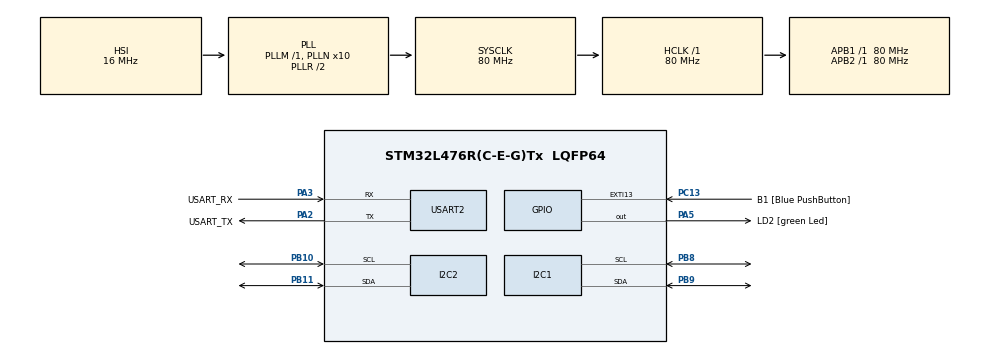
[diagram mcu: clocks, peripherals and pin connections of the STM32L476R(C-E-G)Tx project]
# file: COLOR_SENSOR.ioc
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I2C1.Timing=0x10909CEC
I2C2.Timing=0x10909CEC
Mcu.Family=STM32L4
Mcu.Name=STM32L476R(C-E-G)Tx
Mcu.Package=LQFP64
NVIC.PriorityGroup=NVIC_PRIORITYGROUP_4
PA13\ (JTMS-SWDIO).GPIO_Label=TMS
PA13\ (JTMS-SWDIO).Mode=Serial_Wire
PA13\ (JTMS-SWDIO).Signal=SYS_JTMS-SWDIO
PA14\ (JTCK-SWCLK).GPIO_Label=TCK
PA14\ (JTCK-SWCLK).Mode=Serial_Wire
PA14\ (JTCK-SWCLK).Signal=SYS_JTCK-SWCLK
PA2.GPIO_Label=USART_TX
PA2.GPIO_Mode=GPIO_MODE_AF_PP
PA2.GPIO_PuPd=GPIO_NOPULL
PA2.GPIO_Speed=GPIO_SPEED_FREQ_VERY_HIGH
PA2.Mode=Asynchronous
PA2.Signal=USART2_TX
PA3.GPIO_Label=USART_RX
PA3.GPIO_Mode=GPIO_MODE_AF_PP
PA3.GPIO_PuPd=GPIO_NOPULL
PA3.GPIO_Speed=GPIO_SPEED_FREQ_VERY_HIGH
PA3.Mode=Asynchronous
PA3.Signal=USART2_RX
PA5.GPIO_Label=LD2 [green Led]
PA5.GPIO_ModeDefaultOutputPP=GPIO_MODE_OUTPUT_PP
PA5.GPIO_PuPd=GPIO_NOPULL
PA5.GPIO_Speed=GPIO_SPEED_FREQ_LOW
PA5.Signal=GPIO_Output
PB10.Mode=I2C
PB10.Signal=I2C2_SCL
PB11.Mode=I2C
PB11.Signal=I2C2_SDA
PB3\ (JTDO-TRACESWO).GPIO_Label=SWO
PB3\ (JTDO-TRACESWO).Signal=SYS_JTDO-SWO
PB8.Mode=I2C
PB8.Signal=I2C1_SCL
PB9.Mode=I2C
PB9.Signal=I2C1_SDA
PC13.GPIO_Label=B1 [Blue PushButton]
PC13.GPIO_ModeDefaultEXTI=GPIO_MODE_IT_FALLING
PC13.GPIO_PuPd=GPIO_NOPULL
PC13.Signal=GPXTI13
PC14-OSC32_IN\ (PC14).Mode=LSE-External-Oscillator
PC14-OSC32_IN\ (PC14).Signal=RCC_OSC32_IN
PC15-OSC32_OUT\ (PC15).Mode=LSE-External-Oscillator
PC15-OSC32_OUT\ (PC15).Signal=RCC_OSC32_OUT
PH0-OSC_IN\ (PH0).Signal=RCC_OSC_IN
PH1-OSC_OUT\ (PH1).Signal=RCC_OSC_OUT
ProjectManager.HeapSize=0x200
ProjectManager.StackSize=0x400
ProjectManager.TargetToolchain=STM32CubeIDE
RCC.ADCFreq_Value=64000000
RCC.AHBFreq_Value=80000000
RCC.APB1Freq_Value=80000000
RCC.APB1TimFreq_Value=80000000
RCC.APB2Freq_Value=80000000
RCC.APB2TimFreq_Value=80000000
RCC.CortexFreq_Value=80000000
RCC.HCLKFreq_Value=80000000
RCC.HSE_VALUE=8000000
RCC.HSI_VALUE=16000000
RCC.MSI_VALUE=4000000
RCC.PLLN=10
RCC.PLLSourceVirtual=RCC_PLLSOURCE_HSI
RCC.PREFETCH_ENABLE=1
RCC.SYSCLKFreq_VALUE=80000000
RCC.SYSCLKSource=RCC_SYSCLKSOURCE_PLLCLK
RCC.USBFreq_Value=64000000
RCC.VCOOutputFreq_Value=160000000
USART2.VirtualMode-Asynchronous=VM_ASYNC
board=NUCLEO-L476RG

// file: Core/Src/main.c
/* USER CODE BEGIN Header */
/**
  ******************************************************************************
  * @file           : main.c
  * @brief          : Main program body
  ******************************************************************************
  * @attention
  *
  * Copyright (c) 2022 STMicroelectronics.
  * All rights reserved.
  *
  * This software is licensed under terms that can be found in the LICENSE file
  * in the root directory of this software component.
  * If no LICENSE file comes with this software, it is provided AS-IS.
  *
  ******************************************************************************
  */
/* USER CODE END Header */
#include "main.h"
#include "i2c.h"
#include "usart.h"
#include "gpio.h"

/* USER CODE BEGIN Includes */

#include <string.h>
#include <stdio.h>
#include "lib_lcd.h"

/* USER CODE END Includes */

/* USER CODE BEGIN PTD */

static rgb_lcd lcdData;

/* USER CODE END PTD */

/* USER CODE BEGIN PD */

#define COLOR_SENSOR_ADDR  0x39 << 1
#define CONTROL 0x00                    // Control of basic functions
#define TIMING 0x01                     // Integration time/gain control
#define INTERRUPT 0x02                  // Interrupt control
#define INT_SOURCE 0x03                 // Interrupt source
#define ID 0x04 << 1                    // Part number / Rev ID
#define GAIN 0x07                       // ADC gain control
#define LOW_THRESH_LOW_BYTE 0x08        // Low byte of low interrupt threshold
#define LOW_THRESH_HIGH_BYTE 0x09       // High byte of low interrupt threshold
#define HIGH_THRESH_LOW_BYTE 0x0A       // Low byte of high interrupt threshold
#define HIGH_THRESH_HIGH_BYTE 0x0B      // High byte of high interrupt threshold
#define DATA1LOW 0x10                   // Low byte of ADC green channel
#define DATA1HIGH 0x11                  // High byte of ADC green channel
#define DATA2LOW 0x12                   // Low byte of ADC red channel
#define DATA2HIGH 0x13                  // High byte of ADC red channel
#define DATA3LOW 0x14                   // Low byte of ADC blue channel
#define DATA3HIGH 0x15                  // High byte of ADC blue channel
#define DATA4LOW 0x16                   // Low byte of ADC clear channel
#define DATA4HIGH 0x17                  // High byte of ADC clear channel

#define REG_CTL 0x80
#define TIM_REG 0x81

#define CH1_LOWER 0xB0
#define CH2_LOWER 0xB2
#define CH3_LOWER 0xB4
#define CH4_LOWER 0xB8
#define DATA_T 0x01

/* USER CODE END PD */

I2C_HandleTypeDef hi2c1;
I2C_HandleTypeDef hi2c2;

void SystemClock_Config(void);

int main(void)
{
  /* USER CODE BEGIN 1 */

	uint8_t reg_ctl[8];
	uint8_t tim_reg[8];
	uint8_t intsource[8];
	uint8_t buf[16];
	uint8_t ch1_low[8];
	uint8_t ch2_low[8];
	uint8_t ch3_low[8];
	uint8_t ch4_low[8];
	uint8_t data_t[8];

	// Variables pour les valeurs des couleurs :

	uint8_t green;
	uint8_t red;
	uint8_t blue;
	float clear;

	float X, Y, Z, x, y;

	char bufR[20];
	char bufG[20];
	char bufB[20];

  /* USER CODE END 1 */

  /* MCU Configuration--------------------------------------------------------*/

  /* Reset of all peripherals, Initializes the Flash interface and the Systick. */

  HAL_Init();

  /* Configure the system clock */

  SystemClock_Config();

  /* Initialize all configured peripherals */

  MX_GPIO_Init();
  MX_USART2_UART_Init();
  MX_I2C1_Init();
  MX_I2C2_Init();

  /* USER CODE BEGIN 2 */

  lcd_init(&hi2c1, &lcdData); // Initialise l'écran LCD

  clearlcd();

  lcd_position(&hi2c1,0,0);   // Permet de positionner là où on va écrire sur le LCD

  lcd_print(&hi2c1,"-- FruitColor --");

  /* USER CODE END 2 */

  /* Infinite loop */
  while (1)
  {

	  tim_reg[0] = TIM_REG;
	  reg_ctl[0] = REG_CTL;
	  intsource[0] = INT_SOURCE; // 0x03
	  ch1_low[0] = CH1_LOWER;
	  ch2_low[0] = CH2_LOWER;
	  ch3_low[0] = CH3_LOWER;
	  ch4_low[0] = CH4_LOWER;
	  data_t[0] = DATA_T;

	  // Buffer pour récupérer les bits :

	  uint8_t data1l[8] = {0};
	  uint8_t data1h[8] = {0};
	  uint8_t data2l[8] = {0};
	  uint8_t data2h[8] = {0};
	  uint8_t data3l[8] = {0};
	  uint8_t data3h[8] = {0};
	  uint8_t data4l[8] = {0};
	  uint8_t data4h[8] = {0};

	  // Set up Timing Register

	  // HAL_I2C_Master_Transmit(&hi2c1, COLOR_SENSOR_ADDR, tim_reg, 1	, HAL_MAX_DELAY);
	  // HAL_I2C_Master_Transmit(&hi2c1, COLOR_SENSOR_ADDR, data_t, 1	, HAL_MAX_DELAY);

	  HAL_I2C_Master_Transmit(&hi2c1, COLOR_SENSOR_ADDR, reg_ctl, 1	, HAL_MAX_DELAY);
	  HAL_I2C_Master_Transmit(&hi2c1, COLOR_SENSOR_ADDR, intsource, 1, HAL_MAX_DELAY); // Power Up and Enable ADC
	  HAL_Delay(12);                                                                   // Wait for integration conversion

	  HAL_I2C_Master_Transmit(&hi2c1, COLOR_SENSOR_ADDR, ch1_low, 1, HAL_MAX_DELAY);   //Set Command bit and Word transaction
	  HAL_Delay(0.10);

	  HAL_I2C_Master_Receive(&hi2c1, COLOR_SENSOR_ADDR, data1l, 1, HAL_MAX_DELAY);
	  HAL_I2C_Master_Receive(&hi2c1, COLOR_SENSOR_ADDR, data1h, 1, HAL_MAX_DELAY);
	  green = data1l[0] + data1h[0];

	  HAL_Delay(0.30);

	  HAL_I2C_Master_Transmit(&hi2c1, COLOR_SENSOR_ADDR, ch2_low, 1, HAL_MAX_DELAY);   //Set Command bit and Word transaction
	  HAL_Delay(0.10);

	  HAL_I2C_Master_Receive(&hi2c1, COLOR_SENSOR_ADDR, data2l, 1, HAL_MAX_DELAY);
	  HAL_I2C_Master_Receive(&hi2c1, COLOR_SENSOR_ADDR, data2h, 1, HAL_MAX_DELAY);
	  red = data2l[0] + data2h[0];

	  HAL_Delay(0.30);

	  HAL_I2C_Master_Transmit(&hi2c1, COLOR_SENSOR_ADDR, ch3_low, 1, HAL_MAX_DELAY);   //Set Command bit and Word transaction
	  HAL_Delay(0.10);

	  HAL_I2C_Master_Receive(&hi2c1, COLOR_SENSOR_ADDR, data3l, 1, HAL_MAX_DELAY);
	  HAL_I2C_Master_Receive(&hi2c1, COLOR_SENSOR_ADDR, data3h, 1, HAL_MAX_DELAY);
	  blue = data3l[0] + data3h[0];

	  HAL_Delay(0.30);

	  HAL_I2C_Master_Transmit(&hi2c1, COLOR_SENSOR_ADDR, ch4_low, 1, HAL_MAX_DELAY);   //Set Command bit and Word transaction
	  HAL_Delay(0.10);

	  HAL_I2C_Master_Receive(&hi2c1, COLOR_SENSOR_ADDR, data4l, 1, HAL_MAX_DELAY);
	  HAL_I2C_Master_Receive(&hi2c1, COLOR_SENSOR_ADDR, data4h, 1, HAL_MAX_DELAY);
	  clear = data4l[0] + data4h[0];

	  HAL_Delay(0.40);

	  X = (-0.14282*red) + (1.54924*green) + (-0.95641*blue);
	  Y = (-0.32466*red) + (1.57837*green) + (-0.73191*blue);
	  Z = (-0.68202*red) + (0.77073*green) + (0.56332*blue);

	  x = X/(X+Y+Z);
	  y = Y/(X+Y+Z);

	  lcd_position(&hi2c1,0,0);
	  lcd_print(&hi2c1,"                  ");
	  lcd_position(&hi2c1,0,1);
	  lcd_print(&hi2c1,"                  ");

	  sprintf(bufR, "R: %d", red);               // Rentre dans un buffer le pourcentage d'humidité
	  sprintf(bufG, "G: %d", green);
	  sprintf(bufB, "B: %d", blue);

	  lcd_position(&hi2c1,0,0);   // Permet de positionner là où on va écrire sur le LCD
	  lcd_print(&hi2c1, bufR);

	  lcd_position(&hi2c1,8,0);   // Permet de positionner là où on va écrire sur le LCD
	  lcd_print(&hi2c1, bufG);

	  lcd_position(&hi2c1,0,1);   // Permet de positionner là où on va écrire sur le LCD
	  lcd_print(&hi2c1, bufB);

	  /* if ((x >= 0.0 && x <= 0.3) && (y >= 0.0 && y <= 0.3)) {
		  sprintf((char*)buf, "BLUE\r\n");
	  	  }

	  else if(((x >= 0.0) && (x <= 0.4)) && ((y >= 0.3) && (y <= 0.8))) {
		  sprintf((char*)buf, "GREEN\r\n");
	  	  }

	  else if(((x >= 0.0) && (x <= 0.4)) && ((y >= 0.3) && (y <= 0.8))) {
	  		  sprintf((char*)buf, "PINK\r\n");
	  	  }

	  else if(((x >= 0.5) && (x <= 0.68)) && ((y >= 0.15) && (y <= 0.39))) {
	  	  		  sprintf((char*)buf, "RED\r\n");
	  	  } *

	  // Send out buffer :

	  HAL_UART_Transmit(&huart2, buf, strlen((char*)buf), HAL_MAX_DELAY);

  }
}

void SystemClock_Config(void)
{
  RCC_OscInitTypeDef RCC_OscInitStruct = {0};
  RCC_ClkInitTypeDef RCC_ClkInitStruct = {0};

  /** Configure the main internal regulator output voltage
  */
  if (HAL_PWREx_ControlVoltageScaling(PWR_REGULATOR_VOLTAGE_SCALE1) != HAL_OK)
  {
    Error_Handler();
  }
  /** Initializes the RCC Oscillators according to the specified parameters
  * in the RCC_OscInitTypeDef structure.
  */
  RCC_OscInitStruct.OscillatorType = RCC_OSCILLATORTYPE_HSI;
  RCC_OscInitStruct.HSIState = RCC_HSI_ON;
  RCC_OscInitStruct.HSICalibrationValue = RCC_HSICALIBRATION_DEFAULT;
  RCC_OscInitStruct.PLL.PLLState = RCC_PLL_ON;
  RCC_OscInitStruct.PLL.PLLSource = RCC_PLLSOURCE_HSI;
  RCC_OscInitStruct.PLL.PLLM = 1;
  RCC_OscInitStruct.PLL.PLLN = 10;
  RCC_OscInitStruct.PLL.PLLP = RCC_PLLP_DIV7;
  RCC_OscInitStruct.PLL.PLLQ = RCC_PLLQ_DIV2;
  RCC_OscInitStruct.PLL.PLLR = RCC_PLLR_DIV2;
  if (HAL_RCC_OscConfig(&RCC_OscInitStruct) != HAL_OK)
  {
    Error_Handler();
  }
  /** Initializes the CPU, AHB and APB buses clocks
  */
  RCC_ClkInitStruct.ClockType = RCC_CLOCKTYPE_HCLK|RCC_CLOCKTYPE_SYSCLK
                              |RCC_CLOCKTYPE_PCLK1|RCC_CLOCKTYPE_PCLK2;
  RCC_ClkInitStruct.SYSCLKSource = RCC_SYSCLKSOURCE_PLLCLK;
  RCC_ClkInitStruct.AHBCLKDivider = RCC_SYSCLK_DIV1;
  RCC_ClkInitStruct.APB1CLKDivider = RCC_HCLK_DIV1;
  RCC_ClkInitStruct.APB2CLKDivider = RCC_HCLK_DIV1;

  if (HAL_RCC_ClockConfig(&RCC_ClkInitStruct, FLASH_LATENCY_4) != HAL_OK)
  {
    Error_Handler();
  }
}

void Error_Handler(void)
{
  __disable_irq();
  while (1)
  {
  }
}
